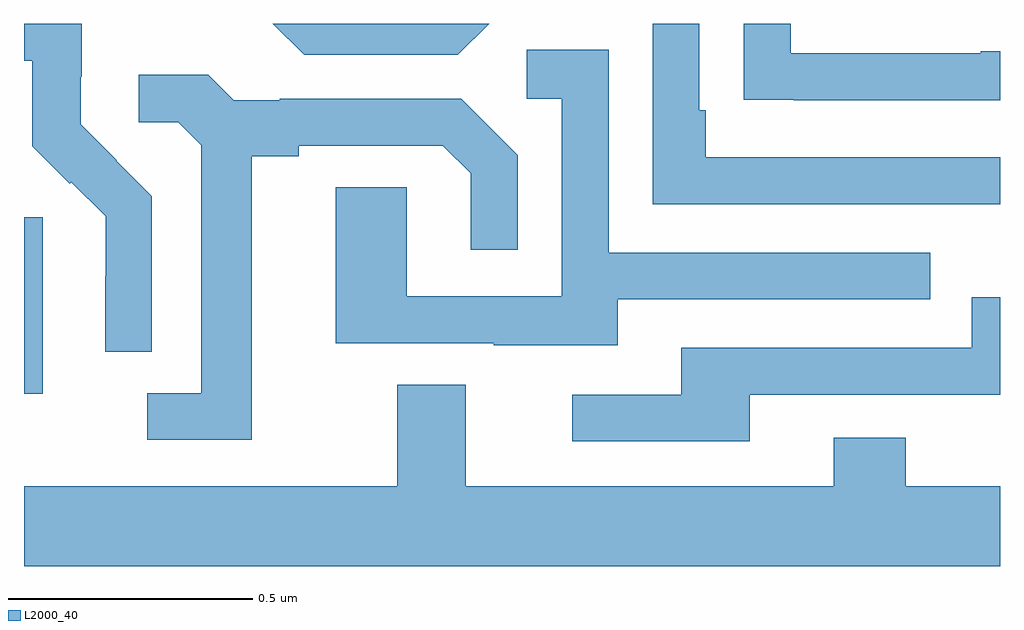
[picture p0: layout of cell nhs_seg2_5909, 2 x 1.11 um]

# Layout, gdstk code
import gdstk
lib = gdstk.Library(unit=1e-6, precision=1e-09)
def R(c, l, rs):  # rectangles x0, y0, x1, y1
    for r in rs: c.add(gdstk.rectangle(r[:2], r[2:], *l))
def P(c, l, *ps):  # polygons
    for p in ps: c.add(gdstk.Polygon(p, *l))
L2000_40 = (2000, 40)

nhs_seg2_5909 = lib.new_cell('nhs_seg2_5909')
R(nhs_seg2_5909, L2000_40, [(185,596.042,185.038,596.403)])
P(nhs_seg2_5909, L2000_40, [(185.262,596.446),(185.189,596.519),(185.19,596.52),(185.116,596.594),(185.116,596.691),(185.118,596.691),(185.118,596.8),(185,596.8),(185,596.724),(185.017,596.724),(185.017,596.549),(185.094,596.472),(185.097,596.475),(185.168,596.405),(185.168,596.282),(185.166,596.282),(185.166,596.128),(185.262,596.128)],
  [(185.953,596.8),(185.51,596.8),(185.574,596.736),(185.889,596.736)],
  [(187,596.526),(186.397,596.526),(186.397,596.623),(186.384,596.623),(186.384,596.8),(186.288,596.8),(186.288,596.43),(187,596.43)],
  [(187,596.744),(186.961,596.744),(186.961,596.739),(186.571,596.739),(186.571,596.8),(186.475,596.8),(186.475,596.644),(186.577,596.644),(186.577,596.643),(187,596.643)],
  [(186.217,596.235),(186.857,596.235),(186.857,596.331),(186.198,596.331),(186.198,596.747),(186.03,596.747),(186.03,596.646),(186.102,596.646),(186.102,596.241),(185.784,596.241),(185.784,596.465),(185.639,596.465),(185.639,596.145),(185.963,596.145),(185.963,596.141),(186.217,596.141)],
  [(185.467,596.528),(185.563,596.528),(185.563,596.55),(185.858,596.55),(185.915,596.493),(185.915,596.337),(186.012,596.337),(186.012,596.53),(185.896,596.646),(185.524,596.646),(185.524,596.643),(185.43,596.643),(185.378,596.695),(185.235,596.695),(185.235,596.598),(185.316,596.598),(185.363,596.551),(185.363,596.043),(185.253,596.043),(185.253,595.947),(185.467,595.947)],
  [(186.487,596.04),(187,596.04),(187,596.239),(186.942,596.239),(186.942,596.136),(186.347,596.136),(186.347,596.04),(186.123,596.04),(186.123,595.944),(186.487,595.944)],
  [(187,595.852),(186.807,595.852),(186.807,595.951),(186.659,595.951),(186.659,595.852),(185.905,595.852),(185.905,596.06),(185.765,596.06),(185.765,595.852),(185,595.852),(185,595.688),(187,595.688)])

lib.write_gds('nhs_seg2_5909.gds')
